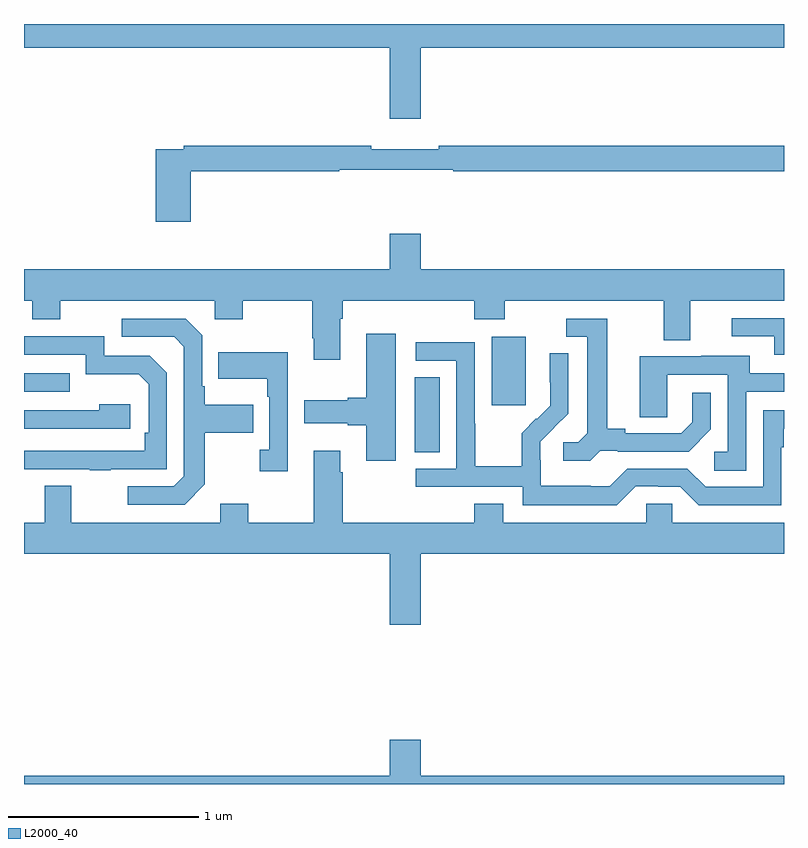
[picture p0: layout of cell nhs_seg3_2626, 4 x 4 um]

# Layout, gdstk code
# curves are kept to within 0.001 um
import gdstk
lib = gdstk.Library(unit=1e-6, precision=1e-09)
def R(c, l, rs):  # rectangles x0, y0, x1, y1
    for r in rs: c.add(gdstk.rectangle(r[:2], r[2:], *l))
def P(c, l, *ps):  # polygons
    for p in ps: c.add(gdstk.Polygon(p, *l))
L2000_40 = (2000, 40)

nhs_seg3_2626 = lib.new_cell('nhs_seg3_2626')
R(nhs_seg3_2626, L2000_40, [(249.056,672.145,249.187,672.542), (249.461,672.393,249.64,672.754), (247,672.465,247.241,672.561)])
P(nhs_seg3_2626, L2000_40, [(249.088,674.276),(251,674.276),(251,674.4),(247,674.4),(247,674.276),(248.924,674.276),(248.924,673.902),(249.088,673.902)],
  [(247.877,673.624),(248.66,673.624),(248.66,673.632),(249.26,673.632),(249.26,673.624),(251,673.624),(251,673.76),(249.184,673.76),(249.184,673.741),(248.828,673.741),(248.828,673.76),(247.84,673.76),(247.84,673.74),(247.694,673.74),(247.694,673.359),(247.877,673.359)],
  [(248.665,672.848),(248.678,672.848),(248.678,672.944),(249.371,672.944),(249.371,672.845),(249.531,672.845),(249.531,672.944),(250.367,672.944),(250.367,672.736),(250.507,672.736),(250.507,672.944),(251,672.944),(251,673.108),(249.088,673.108),(249.088,673.297),(248.924,673.297),(248.924,673.108),(247,673.108),(247,672.944),(247.043,672.944),(247.043,672.845),(247.191,672.845),(247.191,672.944),(248.004,672.944),(248.004,672.845),(248.151,672.845),(248.151,672.944),(248.518,672.944),(248.518,672.745),(248.525,672.745),(248.525,672.633),(248.665,672.633)],
  [(251,672.852),(250.725,672.852),(250.725,672.756),(250.949,672.756),(250.949,672.66),(251,672.66)],
  [(250.032,672.153),(250.126,672.153),(250.126,672.15),(250.498,672.15),(250.614,672.266),(250.614,672.46),(250.517,672.46),(250.517,672.303),(250.46,672.246),(250.165,672.246),(250.165,672.269),(250.069,672.269),(250.069,672.849),(249.855,672.849),(249.855,672.753),(249.965,672.753),(249.965,672.245),(249.918,672.198),(249.837,672.198),(249.837,672.101),(249.98,672.101)],
  [(247.951,671.977),(247.951,672.25),(248.207,672.25),(248.207,672.397),(247.951,672.397),(247.951,672.493),(247.938,672.493),(247.938,672.762),(247.851,672.849),(247.515,672.849),(247.515,672.753),(247.791,672.753),(247.842,672.702),(247.842,672.021),(247.788,671.967),(247.545,671.967),(247.545,671.871),(247.845,671.871)],
  [(248.956,672.769),(248.801,672.769),(248.801,672.434),(248.705,672.434),(248.705,672.421),(248.475,672.421),(248.475,672.299),(248.705,672.299),(248.705,672.287),(248.801,672.287),(248.801,672.102),(248.956,672.102)],
  [(247.457,672.057),(247.752,672.057),(247.752,672.564),(247.662,672.654),(247.422,672.654),(247.422,672.756),(247,672.756),(247,672.66),(247.326,672.66),(247.326,672.557),(247.603,672.557),(247.656,672.504),(247.656,672.25),(247.636,672.25),(247.636,672.153),(247,672.153),(247,672.057),(247.345,672.057),(247.345,672.052),(247.457,672.052)],
  [(250.221,671.967),(250.337,671.967),(250.337,671.964),(250.455,671.964),(250.551,671.868),(250.986,671.868),(250.986,672.173),(250.999,672.173),(251,672.366),(250.89,672.366),(250.89,671.964),(250.587,671.964),(250.491,672.06),(250.176,672.06),(250.083,671.967),(249.983,671.967),(249.983,671.971),(249.72,671.971),(249.72,672.105),(249.718,672.105),(249.718,672.202),(249.864,672.35),(249.864,672.668),(249.768,672.668),(249.768,672.514),(249.77,672.514),(249.77,672.392),(249.699,672.321),(249.696,672.324),(249.619,672.247),(249.619,672.073),(249.375,672.073),(249.375,672.296),(249.372,672.296),(249.372,672.726),(249.063,672.726),(249.063,672.627),(249.276,672.627),(249.276,672.06),(249.063,672.06),(249.063,671.964),(249.624,671.964),(249.624,671.867),(250.121,671.867)],
  [(248.388,672.673),(248.023,672.673),(248.023,672.533),(248.28,672.533),(248.28,672.437),(248.292,672.437),(248.292,672.158),(248.241,672.158),(248.241,672.045),(248.388,672.045)],
  [(250.8,672.465),(251,672.465),(251,672.561),(250.819,672.561),(250.819,672.655),(250.565,672.655),(250.565,672.651),(250.241,672.651),(250.241,672.331),(250.386,672.331),(250.386,672.555),(250.704,672.555),(250.704,672.15),(250.632,672.15),(250.632,672.049),(250.8,672.049)],
  [(247.558,672.4),(247.397,672.4),(247.397,672.366),(247,672.366),(247,672.27),(247.558,672.27)],
  [(249.088,671.612),(251,671.612),(251,671.776),(250.413,671.776),(250.413,671.874),(250.275,671.874),(250.275,671.776),(249.523,671.776),(249.523,671.875),(249.371,671.875),(249.371,671.776),(248.678,671.776),(248.678,672.041),(248.665,672.041),(248.665,672.154),(248.525,672.154),(248.525,671.776),(248.181,671.776),(248.181,671.875),(248.033,671.875),(248.033,671.776),(247.249,671.776),(247.249,671.971),(247.109,671.971),(247.109,671.776),(247,671.776),(247,671.612),(248.924,671.612),(248.924,671.238),(249.088,671.238)],
  [(247,670.4),(251,670.4),(251,670.444),(249.088,670.444),(249.088,670.633),(248.924,670.633),(248.924,670.444),(247,670.444)])

lib.write_gds('nhs_seg3_2626.gds')
